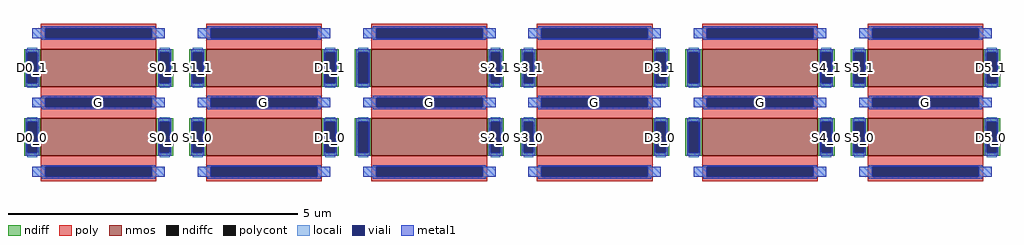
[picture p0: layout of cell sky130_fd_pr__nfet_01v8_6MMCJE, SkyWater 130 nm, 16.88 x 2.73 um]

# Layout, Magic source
magic
tech sky130A
magscale 1 2
<< nmos >>
rect -1630 55 -1230 185
rect -1058 55 -658 185
rect -486 55 -86 185
rect 86 55 486 185
rect 658 55 1058 185
rect 1230 55 1630 185
rect -1630 -185 -1230 -55
rect -1058 -185 -658 -55
rect -486 -185 -86 -55
rect 86 -185 486 -55
rect 658 -185 1058 -55
rect 1230 -185 1630 -55
<< ndiff >>
rect -1688 173 -1630 185
rect -1688 67 -1676 173
rect -1642 67 -1630 173
rect -1688 55 -1630 67
rect -1230 173 -1172 185
rect -1230 67 -1218 173
rect -1184 67 -1172 173
rect -1230 55 -1172 67
rect -1116 173 -1058 185
rect -1116 67 -1104 173
rect -1070 67 -1058 173
rect -1116 55 -1058 67
rect -658 173 -600 185
rect -658 67 -646 173
rect -612 67 -600 173
rect -658 55 -600 67
rect -544 173 -486 185
rect -544 67 -532 173
rect -498 67 -486 173
rect -544 55 -486 67
rect -86 173 -28 185
rect -86 67 -74 173
rect -40 67 -28 173
rect -86 55 -28 67
rect 28 173 86 185
rect 28 67 40 173
rect 74 67 86 173
rect 28 55 86 67
rect 486 173 544 185
rect 486 67 498 173
rect 532 67 544 173
rect 486 55 544 67
rect 600 173 658 185
rect 600 67 612 173
rect 646 67 658 173
rect 600 55 658 67
rect 1058 173 1116 185
rect 1058 67 1070 173
rect 1104 67 1116 173
rect 1058 55 1116 67
rect 1172 173 1230 185
rect 1172 67 1184 173
rect 1218 67 1230 173
rect 1172 55 1230 67
rect 1630 173 1688 185
rect 1630 67 1642 173
rect 1676 67 1688 173
rect 1630 55 1688 67
rect -1688 -67 -1630 -55
rect -1688 -173 -1676 -67
rect -1642 -173 -1630 -67
rect -1688 -185 -1630 -173
rect -1230 -67 -1172 -55
rect -1230 -173 -1218 -67
rect -1184 -173 -1172 -67
rect -1230 -185 -1172 -173
rect -1116 -67 -1058 -55
rect -1116 -173 -1104 -67
rect -1070 -173 -1058 -67
rect -1116 -185 -1058 -173
rect -658 -67 -600 -55
rect -658 -173 -646 -67
rect -612 -173 -600 -67
rect -658 -185 -600 -173
rect -544 -67 -486 -55
rect -544 -173 -532 -67
rect -498 -173 -486 -67
rect -544 -185 -486 -173
rect -86 -67 -28 -55
rect -86 -173 -74 -67
rect -40 -173 -28 -67
rect -86 -185 -28 -173
rect 28 -67 86 -55
rect 28 -173 40 -67
rect 74 -173 86 -67
rect 28 -185 86 -173
rect 486 -67 544 -55
rect 486 -173 498 -67
rect 532 -173 544 -67
rect 486 -185 544 -173
rect 600 -67 658 -55
rect 600 -173 612 -67
rect 646 -173 658 -67
rect 600 -185 658 -173
rect 1058 -67 1116 -55
rect 1058 -173 1070 -67
rect 1104 -173 1116 -67
rect 1058 -185 1116 -173
rect 1172 -67 1230 -55
rect 1172 -173 1184 -67
rect 1218 -173 1230 -67
rect 1172 -185 1230 -173
rect 1630 -67 1688 -55
rect 1630 -173 1642 -67
rect 1676 -173 1688 -67
rect 1630 -185 1688 -173
<< ndiffc >>
rect -1676 67 -1642 173
rect -1218 67 -1184 173
rect -1104 67 -1070 173
rect -646 67 -612 173
rect -532 67 -498 173
rect -74 67 -40 173
rect 40 67 74 173
rect 498 67 532 173
rect 612 67 646 173
rect 1070 67 1104 173
rect 1184 67 1218 173
rect 1642 67 1676 173
rect -1676 -173 -1642 -67
rect -1218 -173 -1184 -67
rect -1104 -173 -1070 -67
rect -646 -173 -612 -67
rect -532 -173 -498 -67
rect -74 -173 -40 -67
rect 40 -173 74 -67
rect 498 -173 532 -67
rect 612 -173 646 -67
rect 1070 -173 1104 -67
rect 1184 -173 1218 -67
rect 1642 -173 1676 -67
<< poly >>
rect -1630 257 -1230 273
rect -1630 223 -1614 257
rect -1246 223 -1230 257
rect -1630 185 -1230 223
rect -1058 257 -658 273
rect -1058 223 -1042 257
rect -674 223 -658 257
rect -1058 185 -658 223
rect -486 257 -86 273
rect -486 223 -470 257
rect -102 223 -86 257
rect -486 185 -86 223
rect 86 257 486 273
rect 86 223 102 257
rect 470 223 486 257
rect 86 185 486 223
rect 658 257 1058 273
rect 658 223 674 257
rect 1042 223 1058 257
rect 658 185 1058 223
rect 1230 257 1630 273
rect 1230 223 1246 257
rect 1614 223 1630 257
rect 1230 185 1630 223
rect -1630 17 -1230 55
rect -1630 -17 -1614 17
rect -1246 -17 -1230 17
rect -1630 -55 -1230 -17
rect -1058 17 -658 55
rect -1058 -17 -1042 17
rect -674 -17 -658 17
rect -1058 -55 -658 -17
rect -486 17 -86 55
rect -486 -17 -470 17
rect -102 -17 -86 17
rect -486 -55 -86 -17
rect 86 17 486 55
rect 86 -17 102 17
rect 470 -17 486 17
rect 86 -55 486 -17
rect 658 17 1058 55
rect 658 -17 674 17
rect 1042 -17 1058 17
rect 658 -55 1058 -17
rect 1230 17 1630 55
rect 1230 -17 1246 17
rect 1614 -17 1630 17
rect 1230 -55 1630 -17
rect -1630 -223 -1230 -185
rect -1630 -257 -1614 -223
rect -1246 -257 -1230 -223
rect -1630 -273 -1230 -257
rect -1058 -223 -658 -185
rect -1058 -257 -1042 -223
rect -674 -257 -658 -223
rect -1058 -273 -658 -257
rect -486 -223 -86 -185
rect -486 -257 -470 -223
rect -102 -257 -86 -223
rect -486 -273 -86 -257
rect 86 -223 486 -185
rect 86 -257 102 -223
rect 470 -257 486 -223
rect 86 -273 486 -257
rect 658 -223 1058 -185
rect 658 -257 674 -223
rect 1042 -257 1058 -223
rect 658 -273 1058 -257
rect 1230 -223 1630 -185
rect 1230 -257 1246 -223
rect 1614 -257 1630 -223
rect 1230 -273 1630 -257
<< polycont >>
rect -1614 223 -1246 257
rect -1042 223 -674 257
rect -470 223 -102 257
rect 102 223 470 257
rect 674 223 1042 257
rect 1246 223 1614 257
rect -1614 -17 -1246 17
rect -1042 -17 -674 17
rect -470 -17 -102 17
rect 102 -17 470 17
rect 674 -17 1042 17
rect 1246 -17 1614 17
rect -1614 -257 -1246 -223
rect -1042 -257 -674 -223
rect -470 -257 -102 -223
rect 102 -257 470 -223
rect 674 -257 1042 -223
rect 1246 -257 1614 -223
<< locali >>
rect -1659 223 -1614 257
rect -1246 223 -1201 257
rect -1087 223 -1042 257
rect -674 223 -629 257
rect -515 223 -470 257
rect -102 223 -57 257
rect 57 223 102 257
rect 470 223 515 257
rect 629 223 674 257
rect 1042 223 1087 257
rect 1201 223 1246 257
rect 1614 223 1659 257
rect -1676 173 -1642 189
rect -1676 51 -1642 67
rect -1218 173 -1184 189
rect -1218 51 -1184 67
rect -1104 173 -1070 189
rect -1104 51 -1070 67
rect -646 173 -612 189
rect -646 51 -612 67
rect -532 173 -498 189
rect -532 51 -498 67
rect -74 173 -40 189
rect -74 51 -40 67
rect 40 173 74 189
rect 40 51 74 67
rect 498 173 532 189
rect 498 51 532 67
rect 612 173 646 189
rect 612 51 646 67
rect 1070 173 1104 189
rect 1070 51 1104 67
rect 1184 173 1218 189
rect 1184 51 1218 67
rect 1642 173 1676 189
rect 1642 51 1676 67
rect -1659 -17 -1614 17
rect -1246 -17 -1201 17
rect -1087 -17 -1042 17
rect -674 -17 -629 17
rect -515 -17 -470 17
rect -102 -17 -57 17
rect 57 -17 102 17
rect 470 -17 515 17
rect 629 -17 674 17
rect 1042 -17 1087 17
rect 1201 -17 1246 17
rect 1614 -17 1659 17
rect -1676 -67 -1642 -51
rect -1676 -189 -1642 -173
rect -1218 -67 -1184 -51
rect -1218 -189 -1184 -173
rect -1104 -67 -1070 -51
rect -1104 -189 -1070 -173
rect -646 -67 -612 -51
rect -646 -189 -612 -173
rect -532 -67 -498 -51
rect -532 -189 -498 -173
rect -74 -67 -40 -51
rect -74 -189 -40 -173
rect 40 -67 74 -51
rect 40 -189 74 -173
rect 498 -67 532 -51
rect 498 -189 532 -173
rect 612 -67 646 -51
rect 612 -189 646 -173
rect 1070 -67 1104 -51
rect 1070 -189 1104 -173
rect 1184 -67 1218 -51
rect 1184 -189 1218 -173
rect 1642 -67 1676 -51
rect 1642 -189 1676 -173
rect -1659 -257 -1614 -223
rect -1246 -257 -1201 -223
rect -1087 -257 -1042 -223
rect -674 -257 -629 -223
rect -515 -257 -470 -223
rect -102 -257 -57 -223
rect 57 -257 102 -223
rect 470 -257 515 -223
rect 629 -257 674 -223
rect 1042 -257 1087 -223
rect 1201 -257 1246 -223
rect 1614 -257 1659 -223
<< viali >>
rect -1614 223 -1246 257
rect -1042 223 -674 257
rect -470 223 -102 257
rect 102 223 470 257
rect 674 223 1042 257
rect 1246 223 1614 257
rect -1676 67 -1642 173
rect -1218 67 -1184 173
rect -1104 67 -1070 173
rect -646 67 -612 173
rect -532 67 -498 173
rect -74 67 -40 173
rect 40 67 74 173
rect 498 67 532 173
rect 612 67 646 173
rect 1070 67 1104 173
rect 1184 67 1218 173
rect 1642 67 1676 173
rect -1614 -17 -1246 17
rect -1042 -17 -674 17
rect -470 -17 -102 17
rect 102 -17 470 17
rect 674 -17 1042 17
rect 1246 -17 1614 17
rect -1676 -173 -1642 -67
rect -1218 -173 -1184 -67
rect -1104 -173 -1070 -67
rect -646 -173 -612 -67
rect -532 -173 -498 -67
rect -74 -173 -40 -67
rect 40 -173 74 -67
rect 498 -173 532 -67
rect 612 -173 646 -67
rect 1070 -173 1104 -67
rect 1184 -173 1218 -67
rect 1642 -173 1676 -67
rect -1614 -257 -1246 -223
rect -1042 -257 -674 -223
rect -470 -257 -102 -223
rect 102 -257 470 -223
rect 674 -257 1042 -223
rect 1246 -257 1614 -223
<< metal1 >>
rect -1626 257 -1234 263
rect -1054 257 -662 263
rect -482 257 -90 263
rect 90 257 482 263
rect 662 257 1054 263
rect 1234 257 1626 263
rect -1659 223 -1614 257
rect -1246 223 -1201 257
rect -1087 223 -1042 257
rect -674 223 -629 257
rect -515 223 -470 257
rect -102 223 -57 257
rect 57 223 102 257
rect 470 223 515 257
rect 629 223 674 257
rect 1042 223 1087 257
rect 1201 223 1246 257
rect 1614 223 1659 257
rect -1626 217 -1234 223
rect -1054 217 -662 223
rect -482 217 -90 223
rect 90 217 482 223
rect 662 217 1054 223
rect 1234 217 1626 223
rect -1682 173 -1636 185
rect -1682 67 -1676 173
rect -1642 67 -1636 173
rect -1682 55 -1636 67
rect -1224 173 -1178 185
rect -1224 67 -1218 173
rect -1184 67 -1178 173
rect -1224 55 -1178 67
rect -1110 173 -1064 185
rect -1110 67 -1104 173
rect -1070 67 -1064 173
rect -1110 55 -1064 67
rect -652 173 -606 185
rect -652 67 -646 173
rect -612 67 -606 173
rect -652 55 -606 67
rect -538 173 -492 185
rect -538 67 -532 173
rect -498 67 -492 173
rect -538 55 -492 67
rect -80 173 -34 185
rect -80 67 -74 173
rect -40 67 -34 173
rect -80 55 -34 67
rect 34 173 80 185
rect 34 67 40 173
rect 74 67 80 173
rect 34 55 80 67
rect 492 173 538 185
rect 492 67 498 173
rect 532 67 538 173
rect 492 55 538 67
rect 606 173 652 185
rect 606 67 612 173
rect 646 67 652 173
rect 606 55 652 67
rect 1064 173 1110 185
rect 1064 67 1070 173
rect 1104 67 1110 173
rect 1064 55 1110 67
rect 1178 173 1224 185
rect 1178 67 1184 173
rect 1218 67 1224 173
rect 1178 55 1224 67
rect 1636 173 1682 185
rect 1636 67 1642 173
rect 1676 67 1682 173
rect 1636 55 1682 67
rect -1626 17 -1234 23
rect -1054 17 -662 23
rect -482 17 -90 23
rect 90 17 482 23
rect 662 17 1054 23
rect 1234 17 1626 23
rect -1659 -17 -1614 17
rect -1246 -17 -1201 17
rect -1087 -17 -1042 17
rect -674 -17 -629 17
rect -515 -17 -470 17
rect -102 -17 -57 17
rect 57 -17 102 17
rect 470 -17 515 17
rect 629 -17 674 17
rect 1042 -17 1087 17
rect 1201 -17 1246 17
rect 1614 -17 1659 17
rect -1626 -23 -1234 -17
rect -1054 -23 -662 -17
rect -482 -23 -90 -17
rect 90 -23 482 -17
rect 662 -23 1054 -17
rect 1234 -23 1626 -17
rect -1682 -67 -1636 -55
rect -1682 -173 -1676 -67
rect -1642 -173 -1636 -67
rect -1682 -185 -1636 -173
rect -1224 -67 -1178 -55
rect -1224 -173 -1218 -67
rect -1184 -173 -1178 -67
rect -1224 -185 -1178 -173
rect -1110 -67 -1064 -55
rect -1110 -173 -1104 -67
rect -1070 -173 -1064 -67
rect -1110 -185 -1064 -173
rect -652 -67 -606 -55
rect -652 -173 -646 -67
rect -612 -173 -606 -67
rect -652 -185 -606 -173
rect -538 -67 -492 -55
rect -538 -173 -532 -67
rect -498 -173 -492 -67
rect -538 -185 -492 -173
rect -80 -67 -34 -55
rect -80 -173 -74 -67
rect -40 -173 -34 -67
rect -80 -185 -34 -173
rect 34 -67 80 -55
rect 34 -173 40 -67
rect 74 -173 80 -67
rect 34 -185 80 -173
rect 492 -67 538 -55
rect 492 -173 498 -67
rect 532 -173 538 -67
rect 492 -185 538 -173
rect 606 -67 652 -55
rect 606 -173 612 -67
rect 646 -173 652 -67
rect 606 -185 652 -173
rect 1064 -67 1110 -55
rect 1064 -173 1070 -67
rect 1104 -173 1110 -67
rect 1064 -185 1110 -173
rect 1178 -67 1224 -55
rect 1178 -173 1184 -67
rect 1218 -173 1224 -67
rect 1178 -185 1224 -173
rect 1636 -67 1682 -55
rect 1636 -173 1642 -67
rect 1676 -173 1682 -67
rect 1636 -185 1682 -173
rect -1626 -223 -1234 -217
rect -1054 -223 -662 -217
rect -482 -223 -90 -217
rect 90 -223 482 -217
rect 662 -223 1054 -217
rect 1234 -223 1626 -217
rect -1659 -257 -1614 -223
rect -1246 -257 -1201 -223
rect -1087 -257 -1042 -223
rect -674 -257 -629 -223
rect -515 -257 -470 -223
rect -102 -257 -57 -223
rect 57 -257 102 -223
rect 470 -257 515 -223
rect 629 -257 674 -223
rect 1042 -257 1087 -223
rect 1201 -257 1246 -223
rect 1614 -257 1659 -223
rect -1626 -263 -1234 -257
rect -1054 -263 -662 -257
rect -482 -263 -90 -257
rect 90 -263 482 -257
rect 662 -263 1054 -257
rect 1234 -263 1626 -257
<< labels >>
rlabel ndiffc -1659 -120 -1659 -120 0 D0_0
port 1 nsew
rlabel ndiffc -1201 -120 -1201 -120 0 S0_0
port 2 nsew
rlabel polycont -1430 0 -1430 0 0 G
port 3 nsew
rlabel ndiffc -1659 120 -1659 120 0 D0_1
port 4 nsew
rlabel ndiffc -1201 120 -1201 120 0 S0_1
port 5 nsew
rlabel ndiffc -629 -120 -629 -120 0 D1_0
port 6 nsew
rlabel ndiffc -1087 -120 -1087 -120 0 S1_0
port 7 nsew
rlabel polycont -858 0 -858 0 0 G
port 3 nsew
rlabel ndiffc -629 120 -629 120 0 D1_1
port 8 nsew
rlabel ndiffc -1087 120 -1087 120 0 S1_1
port 9 nsew
rlabel ndiffc -515 -120 -515 -120 0 D2_0
port 10 nsew
rlabel ndiffc -57 -120 -57 -120 0 S2_0
port 11 nsew
rlabel polycont -286 0 -286 0 0 G
port 3 nsew
rlabel ndiffc -515 120 -515 120 0 D2_1
port 12 nsew
rlabel ndiffc -57 120 -57 120 0 S2_1
port 13 nsew
rlabel ndiffc 515 -120 515 -120 0 D3_0
port 14 nsew
rlabel ndiffc 57 -120 57 -120 0 S3_0
port 15 nsew
rlabel polycont 286 0 286 0 0 G
port 3 nsew
rlabel ndiffc 515 120 515 120 0 D3_1
port 16 nsew
rlabel ndiffc 57 120 57 120 0 S3_1
port 17 nsew
rlabel ndiffc 629 -120 629 -120 0 D4_0
port 18 nsew
rlabel ndiffc 1087 -120 1087 -120 0 S4_0
port 19 nsew
rlabel polycont 858 0 858 0 0 G
port 3 nsew
rlabel ndiffc 629 120 629 120 0 D4_1
port 20 nsew
rlabel ndiffc 1087 120 1087 120 0 S4_1
port 21 nsew
rlabel ndiffc 1659 -120 1659 -120 0 D5_0
port 22 nsew
rlabel ndiffc 1201 -120 1201 -120 0 S5_0
port 23 nsew
rlabel polycont 1430 0 1430 0 0 G
port 3 nsew
rlabel ndiffc 1659 120 1659 120 0 D5_1
port 24 nsew
rlabel ndiffc 1201 120 1201 120 0 S5_1
port 25 nsew
<< properties >>
string gencell sky130_fd_pr__nfet_01v8
string library sky130
string parameters w 0.65 l 2 m 2 nf 6 diffcov 100 polycov 100 guard 0 glc 0 grc 0 gtc 0 gbc 0 tbcov 100 rlcov 100 topc 1 botc 0 poverlap 1 doverlap 0 lmin 0.15 wmin 0.42 class mosfet compatible {sky130_fd_pr__nfet_01v8 sky130_fd_pr__nfet_01v8_lvt  sky130_fd_bs_flash__special_sonosfet_star  sky130_fd_pr__nfet_g5v0d10v5 sky130_fd_pr__nfet_05v0_nvt  sky130_fd_pr__nfet_03v3_nvt} full_metal 0 conn_gates 1 viasrc 100 viadrn 100 viagate 100 viagb 0 viagr 0 viagl 0 viagt 0 doports 1
<< end >>
